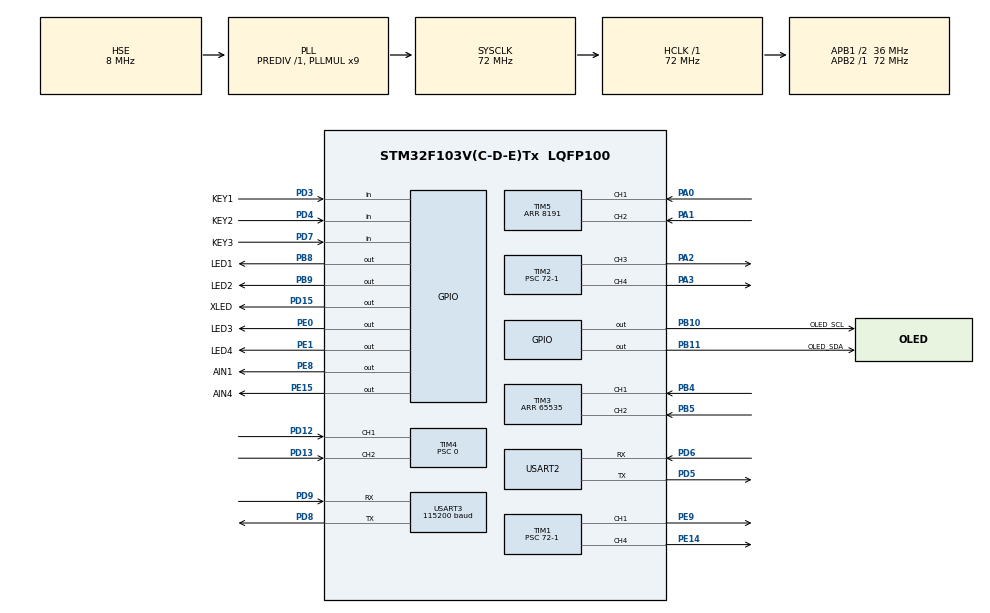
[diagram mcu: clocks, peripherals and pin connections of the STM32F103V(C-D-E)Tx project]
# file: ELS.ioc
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Mcu.Family=STM32F1
Mcu.Name=STM32F103V(C-D-E)Tx
Mcu.Package=LQFP100
NVIC.PriorityGroup=NVIC_PRIORITYGROUP_4
NVIC.TIM6_IRQn=true\:1\:0\:true\:false\:true\:true\:true\:true
NVIC.USART2_IRQn=true\:0\:0\:false\:false\:true\:true\:true\:true
NVIC.USART3_IRQn=true\:0\:0\:true\:false\:true\:true\:true\:true
OSC_IN.Mode=HSE-External-Oscillator
OSC_IN.Signal=RCC_OSC_IN
OSC_OUT.Mode=HSE-External-Oscillator
OSC_OUT.Signal=RCC_OSC_OUT
PA0-WKUP.Signal=S_TIM5_CH1
PA1.Signal=S_TIM5_CH2
PA13.Mode=Serial_Wire
PA13.Signal=SYS_JTMS-SWDIO
PA14.Mode=Serial_Wire
PA14.Signal=SYS_JTCK-SWCLK
PA2.Signal=S_TIM2_CH3
PA3.Signal=S_TIM2_CH4
PB10.GPIO_Label=OLED_SCL
PB10.GPIO_ModeDefaultOutputPP=GPIO_MODE_OUTPUT_OD
PB10.GPIO_PuPd=GPIO_NOPULL
PB10.GPIO_Speed=GPIO_SPEED_FREQ_HIGH
PB10.Signal=GPIO_Output
PB11.GPIO_Label=OLED_SDA
PB11.GPIO_ModeDefaultOutputPP=GPIO_MODE_OUTPUT_OD
PB11.GPIO_PuPd=GPIO_NOPULL
PB11.GPIO_Speed=GPIO_SPEED_FREQ_HIGH
PB11.Signal=GPIO_Output
PB4.Signal=S_TIM3_CH1
PB5.Signal=S_TIM3_CH2
PB8.GPIO_Label=LED1
PB8.GPIO_Speed=GPIO_SPEED_FREQ_LOW
PB8.PinState=GPIO_PIN_RESET
PB8.Signal=GPIO_Output
PB9.GPIO_Label=LED2
PB9.PinState=GPIO_PIN_RESET
PB9.Signal=GPIO_Output
PC14-OSC32_IN.Mode=LSE-External-Oscillator
PC14-OSC32_IN.Signal=RCC_OSC32_IN
PC15-OSC32_OUT.Mode=LSE-External-Oscillator
PC15-OSC32_OUT.Signal=RCC_OSC32_OUT
PD12.Signal=S_TIM4_CH1
PD13.Signal=S_TIM4_CH2
PD15.GPIO_Label=XLED
PD15.GPIO_ModeDefaultOutputPP=GPIO_MODE_OUTPUT_PP
PD15.GPIO_PuPd=GPIO_NOPULL
PD15.PinState=GPIO_PIN_SET
PD15.Signal=GPIO_Output
PD3.GPIO_Label=KEY1
PD3.GPIO_PuPd=GPIO_PULLUP
PD3.Signal=GPIO_Input
PD4.GPIO_Label=KEY2
PD4.GPIO_PuPd=GPIO_PULLUP
PD4.Signal=GPIO_Input
PD5.Mode=Asynchronous
PD5.Signal=USART2_TX
PD6.Mode=Asynchronous
PD6.Signal=USART2_RX
PD7.GPIO_Label=KEY3
PD7.Signal=GPIO_Input
PD8.Mode=Asynchronous
PD8.Signal=USART3_TX
PD9.Mode=Asynchronous
PD9.Signal=USART3_RX
PE0.GPIO_Label=LED3
PE0.PinState=GPIO_PIN_RESET
PE0.Signal=GPIO_Output
PE1.GPIO_Label=LED4
PE1.PinState=GPIO_PIN_RESET
PE1.Signal=GPIO_Output
PE14.Signal=S_TIM1_CH4
PE15.GPIO_Label=AIN4
PE15.GPIO_PuPd=GPIO_NOPULL
PE15.Signal=GPIO_Output
PE8.GPIO_Label=AIN1
PE8.GPIO_PuPd=GPIO_NOPULL
PE8.Signal=GPIO_Output
PE9.Signal=S_TIM1_CH1
ProjectManager.HeapSize=0x200
ProjectManager.StackSize=0x400
ProjectManager.TargetToolchain=STM32CubeIDE
RCC.AHBFreq_Value=72000000
RCC.APB1CLKDivider=RCC_HCLK_DIV2
RCC.APB1Freq_Value=36000000
RCC.APB1TimFreq_Value=72000000
RCC.APB2Freq_Value=72000000
RCC.APB2TimFreq_Value=72000000
RCC.HCLKFreq_Value=72000000
RCC.PLLMUL=RCC_PLL_MUL9
RCC.PLLSourceVirtual=RCC_PLLSOURCE_HSE
RCC.SYSCLKFreq_VALUE=72000000
RCC.SYSCLKSource=RCC_SYSCLKSOURCE_PLLCLK
RCC.USBFreq_Value=72000000
SH.S_TIM1_CH1.0=TIM1_CH1,PWM Generation1 CH1
SH.S_TIM1_CH4.0=TIM1_CH4,PWM Generation4 CH4
SH.S_TIM2_CH3.0=TIM2_CH3,PWM Generation3 CH3
SH.S_TIM2_CH4.0=TIM2_CH4,PWM Generation4 CH4
SH.S_TIM3_CH1.0=TIM3_CH1,Encoder_Interface
SH.S_TIM3_CH2.0=TIM3_CH2,Encoder_Interface
SH.S_TIM4_CH1.0=TIM4_CH1,Encoder_Interface
SH.S_TIM4_CH2.0=TIM4_CH2,Encoder_Interface
SH.S_TIM5_CH1.0=TIM5_CH1,Encoder_Interface
SH.S_TIM5_CH2.0=TIM5_CH2,Encoder_Interface
TIM1.Channel-PWM\ Generation1\ CH1=TIM_CHANNEL_1
TIM1.Channel-PWM\ Generation4\ CH4=TIM_CHANNEL_4
TIM1.Period=10000-1
TIM1.Prescaler=72-1
TIM2.Channel-PWM\ Generation3\ CH3=TIM_CHANNEL_3
TIM2.Channel-PWM\ Generation4\ CH4=TIM_CHANNEL_4
TIM2.Period=20000-1
TIM2.Prescaler=72-1
TIM3.EncoderMode=TIM_ENCODERMODE_TI12
TIM3.Period=65535
TIM4.EncoderMode=TIM_ENCODERMODE_TI12
TIM4.Period=65535
TIM4.Prescaler=0
TIM5.EncoderMode=TIM_ENCODERMODE_TI12
TIM5.Period=8191
TIM6.Period=10000-1
TIM6.Prescaler=72
USART2.VirtualMode=VM_ASYNC
USART3.BaudRate=115200
USART3.VirtualMode=VM_ASYNC
VP_TIM1_VS_ClockSourceINT.Mode=Internal
VP_TIM2_VS_ClockSourceINT.Mode=Internal
VP_TIM6_VS_ClockSourceINT.Mode=Enable_Timer
board=custom

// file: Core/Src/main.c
/* USER CODE BEGIN Header */
/**
  ******************************************************************************
  * @file           : main.c
  * @brief          : Main program body
  ******************************************************************************
  * @attention
  *
  * Copyright (c) 2025 STMicroelectronics.
  * All rights reserved.
  *
  * This software is licensed under terms that can be found in the LICENSE file
  * in the root directory of this software component.
  * If no LICENSE file comes with this software, it is provided AS-IS.
  *
  ******************************************************************************
  */
/* USER CODE END Header */
#include "main.h"
#include "tim.h"
#include "usart.h"
#include "gpio.h"

/* USER CODE BEGIN Includes */
#include "LED.h"
#include "KEY.h"
#include "PID.h"
#include "Servo.h"
#include "OLED.h"
#include "Motor.h"
#include "Encoder.h"
#include <string.h>
#include "math.h"

/* USER CODE END Includes */

/* USER CODE BEGIN PD */
/*  ("                       _oo0oo_
	("                      o8888888o
	("                      88' . '88
	("                      (| -_- |)
	("                     0\\  =  /0
	("                   ___/`---'\\___
	("                 .' \\\\|     |// '.
	("                / \\\\|||  :  |||// \\
	("               / _||||| -:- |||||_ \\
	("              |   | \\\\\\  -  /// |   |
	("              | \\_|  ''\\---/''  |_/ |
	("              \\ .-\\___  '-'  ___/-. /
	("            ___'. .'  /--.--\\  `. .'___
	("          .'' '< `.___\\_<|>_/___.' >'  ''.
	("        | | ： `- \\`.;`\\ _ /`;.`/ - ` : | |
	("        \\  \\ `_.   \\_ __\\ /__ _/   .-` /  /
	("    =====`-.____`.___ \\_____/___.-`___.-`=====
	("                      `=---='
	("    ~~~~~~~~~~~~~~~~~~~~~~~~~~~~~~~~~~~~~~~~~~
	("	             菩提本无树  明镜亦非台
	("               本来无BUG  何必常修改
*/
/* USER CODE END PD */

/* USER CODE BEGIN PM */
// 全局状态变量（在文件头部定义）
typedef enum {
    STATE_RESET_SERVO,     // 舵机复位状态
    STATE_WAIT_K320,       // 等待K320数据包状态
    STATE_TURNING_L,         // 舵机转向中状态
    STATE_TURNING_R,         // 舵机转向中状态
    STATE_TRACKING         // PID激光追踪状态
} SystemState;

volatile SystemState sys_state = STATE_RESET_SERVO; // 初始状态
volatile uint32_t reset_counter = 0;
volatile int8_t turn_direction = 0; // -1:左转, 0:停止, 1:右转
/* USER CODE END PM */

/* USER CODE BEGIN PV */
  uint8_t receive_data[1];
  uint8_t Serial_RxPacket[1];
  uint8_t K230_data[6];
  uint8_t Res[7];
  uint8_t JY62_data; // JY62数据包固定11字节
  uint8_t rx_index = 0;
  PID_Controller pidX, pidY; // 双轴独立控制器
  SpeedPID speedLpid,speedRpid; // 双轴独立控制器
  extern int16_t Roll,Pitch,Yaw;/*角度信息，如果只需要整数可以改为整数类型*/
  extern uint8_t current1_mode;  // 当前模式（1/2/3）
  extern uint8_t current2_mode;  // 当前模式（1/2/3）

   float outX,outY;

   volatile float speedL_mps = 0;       // 速度（m/s）
   volatile float speedR_mps = 0;       // 速度（m/s）

   float current_angle = 0.0f;  // 当前角度
   const float step = 1.0f;     // 每次增加1°
   const uint16_t delay_ms = 20; // 每步延时20ms（控制转动速度）
  // 初始化PID参数

/* USER CODE END PV */

void SystemClock_Config(void);

/* USER CODE BEGIN 0 */

void HAL_UART_RxCpltCallback(UART_HandleTypeDef *huart)
{ 			uint8_t RxState = 0;

//			HAL_UART_Transmit_IT(&huart3, receive_data, 2);
//	LED_OFF();
//	if(receive_data[0]== 0X31)
//	{LED_ON();}
//	if(receive_data[0]== 0X39)
//	{LED_OFF();}
			//HAL_UART_Receive_IT(&huart3, receive_data, 2);

//			if (huart->Instance == USART2)//jy62陀螺仪串口中断
//			{
//				jy62_ReceiveData(JY62_data);
//				  HAL_UART_Receive_IT(&huart2, &JY62_data, 1);
//
//			}

			  if (huart->Instance == USART3)//k230串口中断
	{			HAL_UART_Transmit_IT(&huart3, Res, 7);

	 		if(RxState==0)
	 		{

			 		if (Res[0] == 0x31)
			 			{
						RxState = 1;  //进入状态1 已接收到帧头
//						OLED_ShowNum(1,14,1,1);//显示数字1
			 			}
			 		if(RxState==1)
			 		{
			 			if (Res[6] == 0x39)
			 			{
							K230_data[0] = Res[1];
							K230_data[1] = Res[2];
							K230_data[2] = Res[3];
							K230_data[3] = Res[4];
							K230_data[4] = Res[5];

							RxState = 0;  //进入状态2 已接收到帧尾
//							OLED_ShowNum(2,14,2,1);//显示数字2

			 			}
			 			else//接收错误，全部清0
			 			{
			 							RxState = 0;
			 						//	OLED_ShowString(2, 14,"ERR");
			 			}
			 		}
			 		else//接收错误，全部清0
			 		{
			 							RxState = 0;
			 					//		OLED_ShowString(2, 12,"ERR");
			 		}
	 		}
		  HAL_UART_Receive_IT(&huart3, Res, 7);
	}
}

void HAL_TIM_PeriodElapsedCallback(TIM_HandleTypeDef *htim)
{
if(htim ->Instance ==TIM6)//定时器6,定时时间10ms
{
	if(current1_mode==2&&current2_mode==1)
	{    pidX.KP = 0.025; pidX.KI = 0.005; pidX.KD = 0.001;
    		pidY.KP = 0.0125;  pidY.KI = 0.0025; pidY.KD = 0.006;
			/**********舵机转向环**************/
         outX = pidCompute(&pidX, 400, (K230_data[0]*100+K230_data[1])); // 水平输出
         outY = pidCompute(&pidY, 240 ,(K230_data[2]*100+K230_data[3])); // 垂直输出

        setServoAngleX(0+outX); // 水平舵机
        setServoAngleY(0+outY); // 垂直舵机
	      if(fabs(pidX.error) < 3 && fabs(pidY.error) < 3)
		      {
		          XLED_ON();

		      }

	}

		    		// 新增模式1处理
		    		        if(current1_mode == 1 && current2_mode == 2) {

		    		            switch(sys_state) {
		    		                // 状态1：舵机复位
		    		                case STATE_RESET_SERVO:
		    		                    setServoAngleX(0);  // X轴归零
		    		                    setServoAngleY(0);  // Y轴归零

		    		                    if(K230_data[4] == 1)
		    		                    {  //1为左 2为右

		    		                    sys_state = STATE_TURNING_L;
		    		                   }
		    		                    else if(K230_data[4] == 2)
		    		                    {  //1为左 2为右

		    		                     sys_state = STATE_TURNING_R;
		    		                    }

		    		                    else if(K230_data[4] == 3)
		    		                    {  //1为左 2为右

		    		                     sys_state = STATE_TRACKING ;
		    		                    }
		    		                    break;

		    		                // 状态3：舵机转向中
		    		                case STATE_TURNING_L:
		    		                {
		    		                    // 设置转向角度（30度为例）

		    		                    // 检查K230是否识别到物体
		    		                    if(K230_data[0] != 0 || K230_data[1] != 0) {
		    		                        sys_state = STATE_TRACKING;
		    		                    }
		    		                    break;
		    		                }
		    		                // 状态3：舵机转向中
		    		                case STATE_TURNING_R:
		    		                {

		    		                    // 检查K230是否识别到物体
		    		                	   if(K230_data[0] != 0 || K230_data[1] != 0) {
		    		                        sys_state = STATE_TRACKING;
		    		                    }
		    		                    break;

		    		                // 状态4：PID循迹模式
		    		                case STATE_TRACKING:
		    		                    // 启用PID参数
		    		                	 pidX.KP = 0.025; pidX.KI = 0.002; pidX.KD = 0.001;
		    		                	    		pidY.KP = 0.0125;  pidY.KI = 0.0025; pidY.KD = 0.006;

		    		                    // 执行PID计算
		    		                    outX = pidCompute(&pidX, 400, (K230_data[0]*100+K230_data[1]));
		    		                    outY = pidCompute(&pidY, 240, (K230_data[2]*100+K230_data[3]));

		    		                    setServoAngleX(outX+current_angle*2);
		    		                    setServoAngleY(outY);
		    		          	      if(fabs(pidX.error) < 3 && fabs(pidY.error) < 3)
		    		          		      {
		    		          		          XLED_ON();
		    		          		          HAL_Delay(500);
		    		          		          XLED_OFF();
		    		          		      }
		    		          	      else
		    		          		      {
		    		          		          XLED_OFF();
		    		          		      }
		    		                   	}
		    		                    break;
		    		            }
		    	}

//        /************速度计算****************/
//        		int16_t curr_countL = EncoderL_GetSpeed(); // 以TIM3为例
//        		int16_t curr_countR = EncoderR_GetSpeed(); // 以TIM3为例
//                Encoder_SetZero();   // 关键！读取后立即清零
//
//                //  计算10ms内脉冲增量（自动处理16位溢出）
//                int32_t deltaL = (int32_t)curr_countL;
//                int32_t deltaR = (int32_t)curr_countR;
//
//                float displacementL = deltaL *0.014716; // 周长0.1507m, 4096脉冲/转
//                float displacementR = deltaR *0.014716; // 周长0.1507m, 4096脉冲/转
//
//                //  计算速度（m/s）
//                speedL_mps =displacementL*100;  // Δt=0.01s
//                speedR_mps =displacementR*100;  // Δt=0.01s
//
//                	/************速度环*************/
//        float pwmL=   SpeedPID_Update(&speedLpid,100,speedL_mps,0.01);//期望值，实际值，dt   速度单位cm/s
//        float pwmR=   SpeedPID_Update(&speedRpid,100,speedR_mps,0.01);//期望值，实际值，dt   速度单位cm/s

	}
}
/* USER CODE END 0 */

int main(void)
{

  /* USER CODE BEGIN 1 */

//    speedLpid.Kp = 5; speedLpid.Ki = 0; speedLpid.Kd = 0;
//    speedRpid.Kp = 5; speedRpid.Ki = 0; speedRpid.Kd = 0;

  /* USER CODE END 1 */

  /* MCU Configuration--------------------------------------------------------*/

  /* Reset of all peripherals, Initializes the Flash interface and the Systick. */
  HAL_Init();

  /* Configure the system clock */
  SystemClock_Config();

  /* Initialize all configured peripherals */
  MX_GPIO_Init();
  MX_TIM2_Init();
  MX_USART3_UART_Init();
  MX_TIM3_Init();
  MX_TIM1_Init();
  MX_TIM4_Init();
  MX_TIM5_Init();
  MX_TIM6_Init();
  MX_USART2_UART_Init();
  /* USER CODE BEGIN 2 */
  OLED_Init();
  Servo_Init();
 // Motor_Init();
 // Encoder_Init();

  HAL_UART_Receive_IT(&huart3, Res, 7);//k230串口
//  HAL_UART_Receive_IT(&huart2, &JY62_data, 1);//陀螺仪串口
  HAL_TIM_Base_Start_IT(&htim6);	//使能更新中断并启动定时器
  /* USER CODE END 2 */

  /* Infinite loop */
  while (1)
  {

    /* USER CODE BEGIN 3 */

	  	  	Key1_Scan();
	  	  	Key2_Scan();
	  	  	Key3_Scan();

	  	  OLED_ShowString(3, 1, "X:");
	  	  OLED_ShowString(3, 6, "Y:");
	  	  OLED_ShowString(2, 1, "PX:");
	  	  OLED_ShowString(2, 8, "PY:");
	  	  	OLED_ShowSignedNum(2,4,outX,3);//显示数字1
			OLED_ShowSignedNum(2,11,outY,3);//显示数字2

			OLED_ShowNum(3,3,(K230_data[0]*100+K230_data[1]),3);//显示数字1
			OLED_ShowNum(3,8,(K230_data[2]*100+K230_data[3]),3);//显示数字1
if(sys_state == STATE_TURNING_L)
{   float target_angle = -180.0f; // 目标角度想

      	  if (current_angle > target_angle) {
      	                current_angle += step;
      	                setServoAngleX(current_angle*2);
      	            }
}
if(sys_state == STATE_TURNING_R)
{float target_angle = 180.0f;
          // 设置转向角度（30度为例）
      	  if (current_angle <target_angle) {
      	                current_angle -= step;
      	                setServoAngleX(current_angle*2);
      	            }
}
//		OLED_ShowSignedNum(2, 3, speedL_mps, 3);  // 显示5位数字
//		OLED_ShowSignedNum(3, 3, speedR_mps, 3);  // 显示5位数字
//		OLED_ShowSignedNum(1, 4, Yaw, 3);  // 显示X

  }
  /* USER CODE END 3 */
}

void SystemClock_Config(void)
{
  RCC_OscInitTypeDef RCC_OscInitStruct = {0};
  RCC_ClkInitTypeDef RCC_ClkInitStruct = {0};

  /** Initializes the RCC Oscillators according to the specified parameters
  * in the RCC_OscInitTypeDef structure.
  */
  RCC_OscInitStruct.OscillatorType = RCC_OSCILLATORTYPE_HSE;
  RCC_OscInitStruct.HSEState = RCC_HSE_ON;
  RCC_OscInitStruct.HSEPredivValue = RCC_HSE_PREDIV_DIV1;
  RCC_OscInitStruct.HSIState = RCC_HSI_ON;
  RCC_OscInitStruct.PLL.PLLState = RCC_PLL_ON;
  RCC_OscInitStruct.PLL.PLLSource = RCC_PLLSOURCE_HSE;
  RCC_OscInitStruct.PLL.PLLMUL = RCC_PLL_MUL9;
  if (HAL_RCC_OscConfig(&RCC_OscInitStruct) != HAL_OK)
  {
    Error_Handler();
  }

  /** Initializes the CPU, AHB and APB buses clocks
  */
  RCC_ClkInitStruct.ClockType = RCC_CLOCKTYPE_HCLK|RCC_CLOCKTYPE_SYSCLK
                              |RCC_CLOCKTYPE_PCLK1|RCC_CLOCKTYPE_PCLK2;
  RCC_ClkInitStruct.SYSCLKSource = RCC_SYSCLKSOURCE_PLLCLK;
  RCC_ClkInitStruct.AHBCLKDivider = RCC_SYSCLK_DIV1;
  RCC_ClkInitStruct.APB1CLKDivider = RCC_HCLK_DIV2;
  RCC_ClkInitStruct.APB2CLKDivider = RCC_HCLK_DIV1;

  if (HAL_RCC_ClockConfig(&RCC_ClkInitStruct, FLASH_LATENCY_2) != HAL_OK)
  {
    Error_Handler();
  }
}

void Error_Handler(void)
{
  __disable_irq();
  while (1)
  {
  }
}
